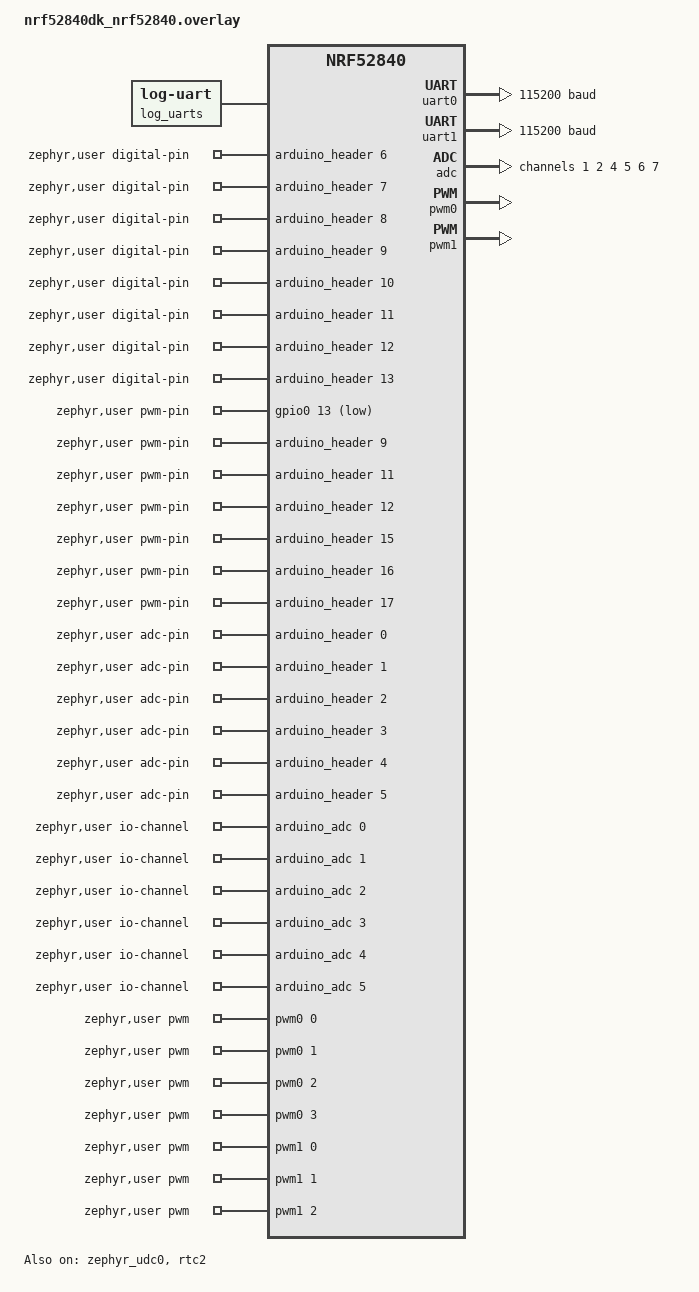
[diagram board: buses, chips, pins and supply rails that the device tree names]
/*
 * Copyright (c) Arduino s.r.l. and/or its affiliated companies
 *
 * SPDX-License-Identifier: Apache-2.0
 */

/* Flash layout, shared with the MCUboot image as well. */
#include "nrf52840dk_nrf52840_partitions.dtsi"
/* Boot-mode retention area, shared with the MCUboot image as well. */
#include "nrf52840dk_nrf52840_bootmode.dtsi"

/{
	chosen {
		zephyr,console = &board_cdc_acm_logging;
		zephyr,log-uart = &log_uarts;
		zephyr,shell-uart = &board_cdc_acm_shell;
		zephyr,code-partition = &code_partition;
		/delete-property/ zephyr,uart-mcumgr;
	};

	log_uarts: log_uarts {
		compatible = "zephyr,log-uart";
		uarts = <&board_cdc_acm_logging>;
	};
};

/*
 * USB CDC-ACM ports, in enumeration order:
 *  1. logging: console (printk/stdout msg)+ log backend
 *  2. sketch:  the sketch's 'Serial' (SerialUSB)
 *  3. shell:   Zephyr shell (debug builds only, unused otherwise)
 */
&zephyr_udc0 {
	board_cdc_acm_logging: board_cdc_acm_logging {
		compatible = "zephyr,cdc-acm-uart";
		status = "okay";
	};

	board_cdc_acm_sketch: board_cdc_acm_sketch {
		compatible = "zephyr,cdc-acm-uart";
		status = "okay";
	};

	board_cdc_acm_shell: board_cdc_acm_shell {
		compatible = "zephyr,cdc-acm-uart";
		status = "okay";
	};

	status = "okay";
	compatible = "nordic,nrf-usbd";
	num-bidir-endpoints = <1>;
	num-in-endpoints = <6>;
	num-out-endpoints = <3>;
	num-isoin-endpoints = <0>;
	num-isoout-endpoints = <0>;
};


/* RTC backend for the Arduino RTC library */
&rtc2 {
	status = "okay";
};

/delete-node/ &mx25r64;

&qspi {
	status = "disabled";
};

&uart0 {
	status = "okay";
	current-speed = <115200>;
};

&uart1 {
	status = "okay";
	current-speed = <115200>;
};

&spi1 {
	status = "disabled";
};

/* Arduino API pin mappings */
/ {
	zephyr,user {
		digital-pin-gpios = <&arduino_header 6 0>,	/* D0 - P1.01 */
				    <&arduino_header 7 0>,	/* D1 - P1.02 */
				    <&arduino_header 8 0>,	/* D2 - P1.03 */
				    <&arduino_header 9 0>,	/* D3 - P1.04 */
				    <&arduino_header 10 0>,	/* D4 - P1.05 */
				    <&arduino_header 11 0>,	/* D5 - P1.06 */
				    <&arduino_header 12 0>,	/* D6 - P1.07 */
				    <&arduino_header 13 0>,	/* D7 - P1.08 */
				    <&arduino_header 14 0>,	/* D8 - P1.10 */
				    <&arduino_header 15 0>,	/* D9 - P1.11 */
				    <&arduino_header 16 0>,	/* D10 - P1.12 */
				    <&arduino_header 17 0>,	/* D11 - P1.13 */
				    <&arduino_header 18 0>,	/* D12 - P1.14 */
				    <&arduino_header 19 0>,	/* D13 - P1.15 */
				    <&arduino_header 20 0>,	/* D14 - P0.26 (SDA) */
				    <&arduino_header 21 0>,	/* D15 - P0.27 (SCL) */
				    <&arduino_header 0 0>,	/* D16 - A0 - P0.03 */
				    <&arduino_header 1 0>,	/* D17 - A1 - P0.04 */
				    <&arduino_header 2 0>,	/* D18 - A2 - P0.28 */
				    <&arduino_header 3 0>,	/* D19 - A3 - P0.29 */
				    <&arduino_header 4 0>,	/* D20 - A4 - P0.30 */
				    <&arduino_header 5 0>,	/* D21 - A5 - P0.31 */
				    <&gpio0 13 GPIO_ACTIVE_LOW>,	/* D22 - LED1 */
				    <&gpio0 14 GPIO_ACTIVE_LOW>,	/* D23 - LED2 */
				    <&gpio0 15 GPIO_ACTIVE_LOW>,	/* D24 - LED3 */
				    <&gpio0 16 GPIO_ACTIVE_LOW>,	/* D25 - LED4 */
				    <&gpio0 11 0>,	/* D26 - BUTTON1 */
				    <&gpio0 12 0>,	/* D27 - BUTTON2 */
				    <&gpio0 24 0>,	/* D28 - BUTTON3 */
				    <&gpio0 25 0>;	/* D29 - BUTTON4 */

		pwm-pin-gpios =     <&gpio0 13 GPIO_ACTIVE_LOW>,	/* LED1 */
				    <&arduino_header 9 0>,	/* D3 */
				    <&arduino_header 11 0>,	/* D5 */
				    <&arduino_header 12 0>,	/* D6 */
				    <&arduino_header 15 0>,	/* D9 */
				    <&arduino_header 16 0>,	/* D10 */
				    <&arduino_header 17 0>;	/* D11 */

		adc-pin-gpios =	    <&arduino_header 0 0>,	/* A0 */
				    <&arduino_header 1 0>,	/* A1 */
				    <&arduino_header 2 0>,	/* A2 */
				    <&arduino_header 3 0>,	/* A3 */
				    <&arduino_header 4 0>,	/* A4 */
				    <&arduino_header 5 0>;	/* A5 */

		pwms =	<&pwm0 0 255 PWM_POLARITY_INVERTED>,
			<&pwm0 1 255 PWM_POLARITY_NORMAL>,
			<&pwm0 2 255 PWM_POLARITY_NORMAL>,
			<&pwm0 3 255 PWM_POLARITY_NORMAL>,
			<&pwm1 0 255 PWM_POLARITY_NORMAL>,
			<&pwm1 1 255 PWM_POLARITY_NORMAL>,
			<&pwm1 2 255 PWM_POLARITY_NORMAL>;

		io-channels =	<&arduino_adc 0>,
				<&arduino_adc 1>,
				<&arduino_adc 2>,
				<&arduino_adc 3>,
				<&arduino_adc 4>,
				<&arduino_adc 5>;

		cdc-acm-serial = <&board_cdc_acm_sketch>; /* 'Serial' object is managed by SerialUSB */
		serials = <&uart1>, <&uart0>; /* 'Serial1' onwards */
	};
};

&adc {
	#address-cells = <1>;
	#size-cells = <0>;

	channel@1 {
		reg = <1>;
		zephyr,gain = "ADC_GAIN_1_6";
		zephyr,reference = "ADC_REF_INTERNAL";
		zephyr,acquisition-time = <ADC_ACQ_TIME_DEFAULT>;
		zephyr,input-positive = <NRF_SAADC_AIN1>; /* P0.03 - A0 */
		zephyr,resolution = <10>;
	};

	channel@2 {
		reg = <2>;
		zephyr,gain = "ADC_GAIN_1_6";
		zephyr,reference = "ADC_REF_INTERNAL";
		zephyr,acquisition-time = <ADC_ACQ_TIME_DEFAULT>;
		zephyr,input-positive = <NRF_SAADC_AIN2>; /* P0.04 - A1 */
		zephyr,resolution = <10>;
	};

	channel@4 {
		reg = <4>;
		zephyr,gain = "ADC_GAIN_1_6";
		zephyr,reference = "ADC_REF_INTERNAL";
		zephyr,acquisition-time = <ADC_ACQ_TIME_DEFAULT>;
		zephyr,input-positive = <NRF_SAADC_AIN4>; /* P0.28 - A2 */
		zephyr,resolution = <10>;
	};

	channel@5 {
		reg = <5>;
		zephyr,gain = "ADC_GAIN_1_6";
		zephyr,reference = "ADC_REF_INTERNAL";
		zephyr,acquisition-time = <ADC_ACQ_TIME_DEFAULT>;
		zephyr,input-positive = <NRF_SAADC_AIN5>; /* P0.29 - A3 */
		zephyr,resolution = <10>;
	};

	channel@6 {
		reg = <6>;
		zephyr,gain = "ADC_GAIN_1_6";
		zephyr,reference = "ADC_REF_INTERNAL";
		zephyr,acquisition-time = <ADC_ACQ_TIME_DEFAULT>;
		zephyr,input-positive = <NRF_SAADC_AIN6>; /* P0.30 - A4 */
		zephyr,resolution = <10>;
	};

	channel@7 {
		reg = <7>;
		zephyr,gain = "ADC_GAIN_1_6";
		zephyr,reference = "ADC_REF_INTERNAL";
		zephyr,acquisition-time = <ADC_ACQ_TIME_DEFAULT>;
		zephyr,input-positive = <NRF_SAADC_AIN7>; /* P0.31 - A5 */
		zephyr,resolution = <10>;
	};
};

&pwm0 {
	status = "okay";
	zephyr,deferred-init;
	pinctrl-0 = <&empty_default>;
	pinctrl-1 = <&pwm0_sleep>;
	pinctrl-2 = <&pwm0_default>;
	pinctrl-names = "default", "sleep", "arduino";
};

&pwm1 {
	status = "okay";
	zephyr,deferred-init;
	pinctrl-0 = <&empty_default>;
	pinctrl-1 = <&pwm1_sleep>;
	pinctrl-2 = <&pwm1_default>;
	pinctrl-names = "default", "sleep", "arduino";
};

&pinctrl {
	empty_default: empty_default {
		group1 {
			psels = <>;
		};
	};

	pwm0_default: pwm0_default {
		group1 {
			psels = <NRF_PSEL(PWM_OUT0, 0, 13)>;
			nordic,invert;
		};

		group2 {
			psels = <NRF_PSEL(PWM_OUT1, 1, 4)>,
				<NRF_PSEL(PWM_OUT2, 1, 6)>,
				<NRF_PSEL(PWM_OUT3, 1, 7)>;
		};
	};

	pwm0_sleep: pwm0_sleep {
		group1 {
			psels = <NRF_PSEL(PWM_OUT0, 0, 13)>,
				<NRF_PSEL(PWM_OUT1, 1, 4)>,
				<NRF_PSEL(PWM_OUT2, 1, 6)>,
				<NRF_PSEL(PWM_OUT3, 1, 7)>;
			low-power-enable;
		};
	};

	pwm1_default: pwm1_default {
		group1 {
			psels = <NRF_PSEL(PWM_OUT0, 1, 11)>,
				<NRF_PSEL(PWM_OUT1, 1, 12)>,
				<NRF_PSEL(PWM_OUT2, 1, 13)>;
		};
	};

	pwm1_sleep: pwm1_sleep {
		group1 {
			psels = <NRF_PSEL(PWM_OUT0, 1, 11)>,
				<NRF_PSEL(PWM_OUT1, 1, 12)>,
				<NRF_PSEL(PWM_OUT2, 1, 13)>;
			low-power-enable;
		};
	};
};
